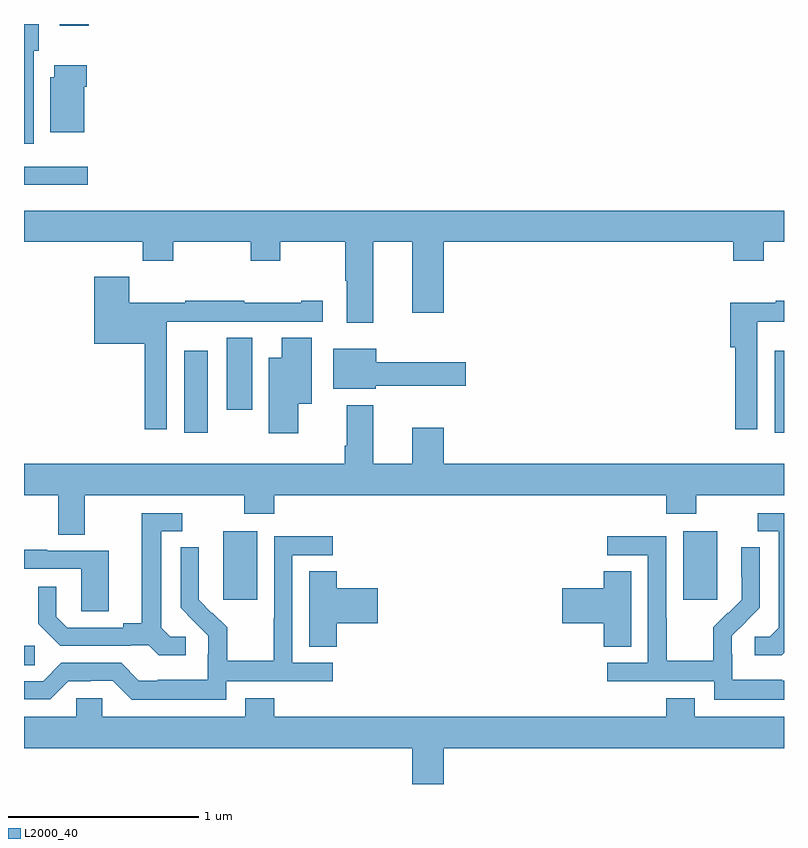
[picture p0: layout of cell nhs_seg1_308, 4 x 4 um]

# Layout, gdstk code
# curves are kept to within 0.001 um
import gdstk
lib = gdstk.Library(unit=1e-6, precision=1e-09)
def R(c, l, rs):  # rectangles x0, y0, x1, y1
    for r in rs: c.add(gdstk.rectangle(r[:2], r[2:], *l))
def P(c, l, *ps):  # polygons
    for p in ps: c.add(gdstk.Polygon(p, *l))
L2000_40 = (2000, 40)

nhs_seg1_308 = lib.new_cell('nhs_seg1_308')
R(nhs_seg1_308, L2000_40, [(127,562.825,127.057,562.926), (128.048,563.169,128.227,563.53), (130.469,563.169,130.648,563.53), (127.844,564.048,127.966,564.478), (130.952,564.048,131,564.478), (128.066,564.168,128.2,564.548), (127,565.352,127.336,565.449), (127.187,566.19,127.34,566.199)])
P(nhs_seg1_308, L2000_40, [(127.051,566.058),(127.078,566.058),(127.078,566.199),(127,566.199),(127,565.569),(127.051,565.569)],
  [(127.318,565.868),(127.331,565.868),(127.331,565.981),(127.16,565.981),(127.16,565.92),(127.139,565.92),(127.139,565.628),(127.318,565.628)],
  [(128.839,565.052),(129.044,565.052),(129.044,564.678),(129.208,564.678),(129.208,565.052),(130.733,565.052),(130.733,564.953),(130.893,564.953),(130.893,565.052),(131,565.052),(131,565.216),(127,565.216),(127,565.052),(127.625,565.052),(127.625,564.953),(127.785,564.953),(127.785,565.052),(128.194,565.052),(128.194,564.953),(128.349,564.953),(128.349,565.052),(128.692,565.052),(128.692,564.848),(128.699,564.848),(128.699,564.627),(128.839,564.627)],
  [(127.752,564.632),(127.962,564.632),(127.962,564.633),(128.572,564.633),(128.572,564.742),(128.459,564.742),(128.459,564.732),(128.159,564.732),(128.159,564.742),(127.849,564.742),(127.849,564.732),(127.553,564.732),(127.553,564.868),(127.37,564.868),(127.37,564.515),(127.636,564.515),(127.636,564.066),(127.752,564.066)],
  [(130.86,564.632),(131,564.632),(131,564.742),(130.957,564.742),(130.957,564.732),(130.718,564.732),(130.718,564.497),(130.744,564.497),(130.744,564.066),(130.86,564.066)],
  [(128.443,564.2),(128.515,564.2),(128.515,564.548),(128.357,564.548),(128.357,564.442),(128.288,564.442),(128.288,564.045),(128.443,564.045)],
  [(128.85,564.296),(129.325,564.296),(129.325,564.418),(128.854,564.418),(128.854,564.49),(128.627,564.49),(128.627,564.278),(128.85,564.278)],
  [(127.321,563.72),(128.158,563.72),(128.158,563.621),(128.318,563.621),(128.318,563.72),(130.379,563.72),(130.379,563.621),(130.539,563.621),(130.539,563.72),(131,563.72),(131,563.884),(129.208,563.884),(129.208,564.073),(129.044,564.073),(129.044,563.884),(128.839,563.884),(128.839,564.193),(128.699,564.193),(128.699,563.98),(128.687,563.98),(128.687,563.884),(127,563.884),(127,563.72),(127.181,563.72),(127.181,563.512),(127.321,563.512)],
  [(131,562.889),(131,563.625),(130.863,563.625),(130.863,563.529),(130.973,563.529),(130.973,563.021),(130.926,562.974),(130.845,562.974),(130.845,562.877),(130.988,562.877)],
  [(127.852,562.974),(127.77,562.974),(127.723,563.021),(127.723,563.529),(127.834,563.529),(127.834,563.625),(127.619,563.625),(127.619,563.045),(127.523,563.045),(127.523,563.022),(127.228,563.022),(127.171,563.079),(127.171,563.236),(127.074,563.236),(127.074,563.042),(127.19,562.926),(127.562,562.926),(127.562,562.929),(127.656,562.929),(127.708,562.877),(127.852,562.877)],
  [(128.064,562.74),(128.626,562.74),(128.626,562.836),(128.412,562.836),(128.412,563.403),(128.626,563.403),(128.626,563.502),(128.316,563.502),(128.316,563.072),(128.314,563.072),(128.314,562.849),(128.069,562.849),(128.069,563.023),(127.992,563.1),(127.989,563.097),(127.919,563.168),(127.92,563.444),(127.824,563.444),(127.824,563.126),(127.97,562.978),(127.97,562.881),(127.968,562.881),(127.968,562.747),(127.705,562.747),(127.705,562.743),(127.605,562.743),(127.512,562.836),(127.197,562.836),(127.101,562.74),(127,562.74),(127,562.644),(127.137,562.644),(127.233,562.74),(127.352,562.74),(127.352,562.743),(127.467,562.743),(127.567,562.643),(128.064,562.643)],
  [(131,562.743),(130.991,562.743),(130.991,562.747),(130.728,562.747),(130.728,562.881),(130.726,562.881),(130.726,562.978),(130.872,563.126),(130.872,563.444),(130.776,563.444),(130.776,563.29),(130.778,563.29),(130.778,563.168),(130.707,563.097),(130.704,563.1),(130.627,563.023),(130.627,562.849),(130.383,562.849),(130.383,563.072),(130.38,563.072),(130.38,563.502),(130.071,563.502),(130.071,563.403),(130.284,563.403),(130.284,562.836),(130.071,562.836),(130.071,562.74),(130.632,562.74),(130.632,562.643),(131,562.643)],
  [(127.447,563.427),(127.123,563.427),(127.123,563.431),(127,563.431),(127,563.331),(127.302,563.331),(127.302,563.107),(127.447,563.107)],
  [(128.645,563.045),(128.863,563.045),(128.863,563.228),(128.645,563.228),(128.645,563.318),(128.501,563.318),(128.501,562.921),(128.645,562.921)],
  [(130.195,563.318),(130.052,563.318),(130.052,563.228),(129.834,563.228),(129.834,563.045),(130.052,563.045),(130.052,562.921),(130.195,562.921)],
  [(129.208,562.388),(131,562.388),(131,562.552),(130.531,562.552),(130.531,562.651),(130.379,562.651),(130.379,562.552),(128.318,562.552),(128.318,562.651),(128.165,562.651),(128.165,562.552),(127.413,562.552),(127.413,562.65),(127.275,562.65),(127.275,562.552),(127,562.552),(127,562.388),(129.044,562.388),(129.044,562.199),(129.208,562.199)])

lib.write_gds('nhs_seg1_308.gds')
